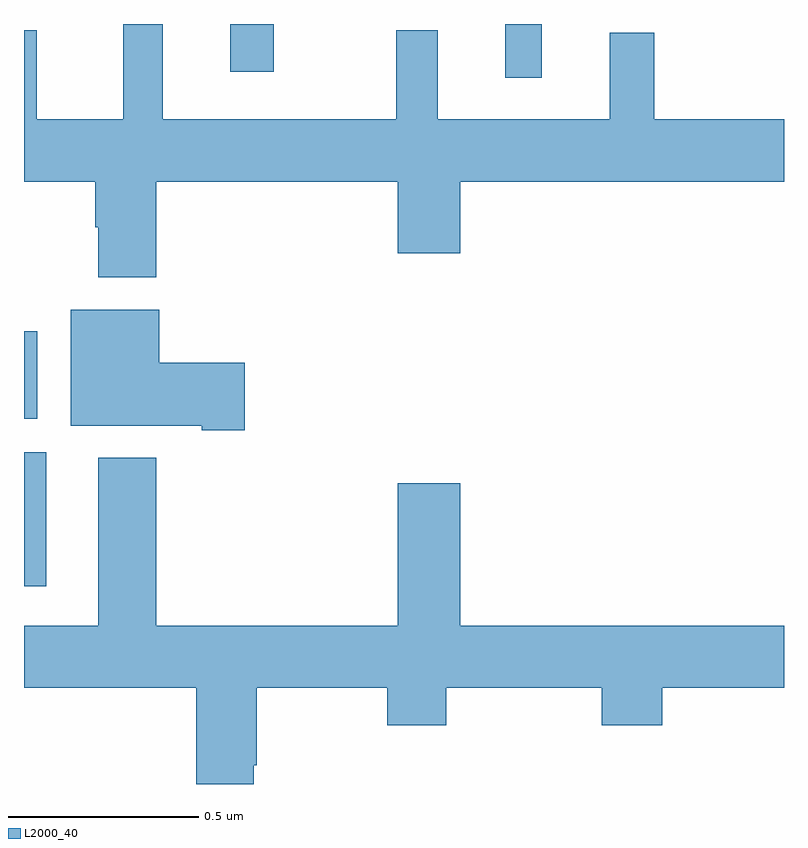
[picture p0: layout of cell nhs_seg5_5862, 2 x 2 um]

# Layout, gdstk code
import gdstk
lib = gdstk.Library(unit=1e-6, precision=1e-09)
def R(c, l, rs):  # rectangles x0, y0, x1, y1
    for r in rs: c.add(gdstk.rectangle(r[:2], r[2:], *l))
def P(c, l, *ps):  # polygons
    for p in ps: c.add(gdstk.Polygon(p, *l))
L2000_40 = (2000, 40)

nhs_seg5_5862 = lib.new_cell('nhs_seg5_5862')
R(nhs_seg5_5862, L2000_40, [(188,898.32,188.059,898.672), (188,898.76,188.035,898.99), (189.266,899.658,189.363,899.799), (188.543,899.673,188.657,899.799)])
P(nhs_seg5_5862, L2000_40, [(188.348,899.384),(188.984,899.384),(188.984,899.196),(189.148,899.196),(189.148,899.384),(190,899.384),(190,899.548),(189.659,899.548),(189.659,899.776),(189.542,899.776),(189.542,899.548),(189.089,899.548),(189.089,899.782),(188.979,899.782),(188.979,899.548),(188.365,899.548),(188.365,899.799),(188.261,899.799),(188.261,899.548),(188.034,899.548),(188.034,899.782),(188,899.782),(188,899.384),(188.188,899.384),(188.188,899.264),(188.195,899.264),(188.195,899.132),(188.348,899.132)],
  [(188.581,898.908),(188.356,898.908),(188.356,899.047),(188.123,899.047),(188.123,898.742),(188.468,898.742),(188.468,898.73),(188.581,898.73)],
  [(188.605,897.848),(188.613,897.848),(188.613,898.052),(188.956,898.052),(188.956,897.953),(189.111,897.953),(189.111,898.052),(189.52,898.052),(189.52,897.953),(189.68,897.953),(189.68,898.052),(190,898.052),(190,898.216),(189.148,898.216),(189.148,898.591),(188.984,898.591),(188.984,898.216),(188.348,898.216),(188.348,898.657),(188.195,898.657),(188.195,898.216),(188,898.216),(188,898.052),(188.453,898.052),(188.453,897.799),(188.605,897.799)])

lib.write_gds('nhs_seg5_5862.gds')
